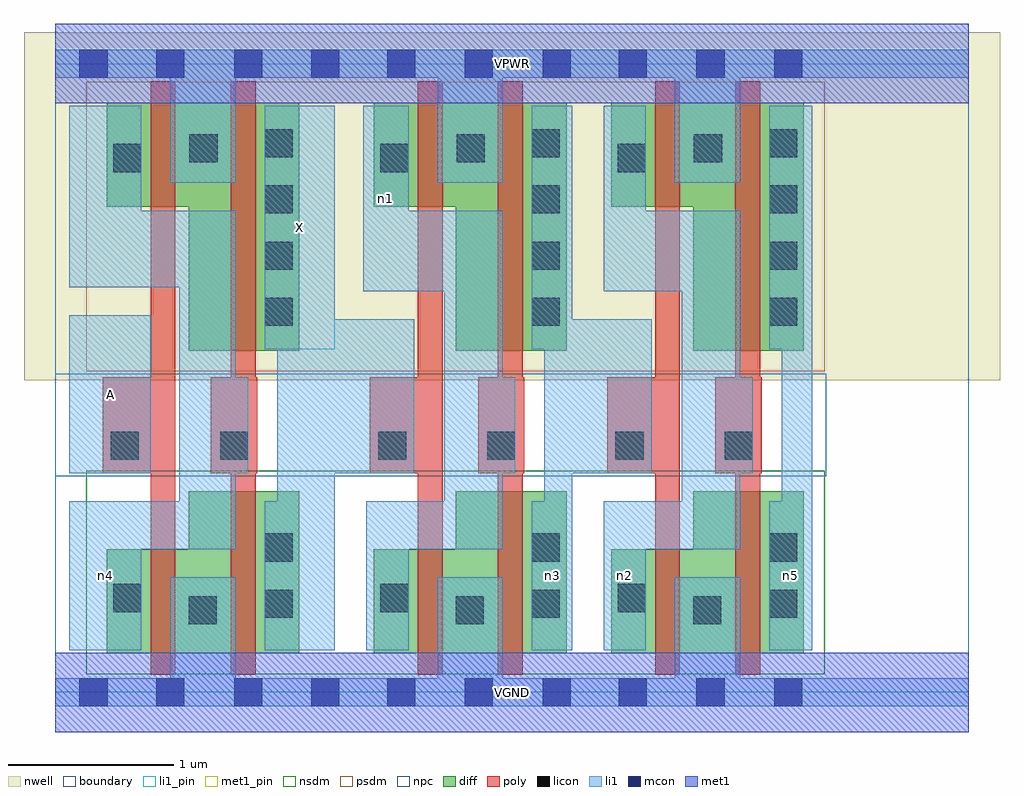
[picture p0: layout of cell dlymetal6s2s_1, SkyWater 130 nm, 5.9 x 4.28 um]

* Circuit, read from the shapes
.subckt dlymetal6s2s_1 A VGND VPWR X n1 n2 n3 n4 n5
XM1 VGND A n4 VSUBS sky130_fd_pr__nfet_01v8 w=0.63 l=0.15
XM2 X n4 VGND VSUBS sky130_fd_pr__nfet_01v8 w=0.98 l=0.15
XM3 VGND X n1 VSUBS sky130_fd_pr__nfet_01v8 w=0.63 l=0.15
XM4 n3 n1 VGND VSUBS sky130_fd_pr__nfet_01v8 w=0.98 l=0.15
XM5 VGND n3 n2 VSUBS sky130_fd_pr__nfet_01v8 w=0.63 l=0.15
XM6 n5 n2 VGND VSUBS sky130_fd_pr__nfet_01v8 w=0.98 l=0.15
XM7 VPWR A n4 n6 sky130_fd_pr__pfet_01v8 w=0.63 l=0.15
XM8 X n4 VPWR n6 sky130_fd_pr__pfet_01v8 w=1.5 l=0.15
XM9 VPWR X n1 n6 sky130_fd_pr__pfet_01v8 w=0.63 l=0.15
XM10 n3 n1 VPWR n6 sky130_fd_pr__pfet_01v8 w=1.5 l=0.15
XM11 VPWR n3 n2 n6 sky130_fd_pr__pfet_01v8 w=0.63 l=0.15
XM12 n5 n2 VPWR n6 sky130_fd_pr__pfet_01v8 w=1.5 l=0.15
.ends

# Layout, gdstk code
import gdstk
lib = gdstk.Library(unit=1e-6, precision=1e-09)
def R(c, l, rs):  # rectangles x0, y0, x1, y1
    for r in rs: c.add(gdstk.rectangle(r[:2], r[2:], *l))
def A(c, l, x, y, w, h, nx, ny, dx, dy):  # array of equal rectangles
    R(c, l, [(x+i*dx, y+j*dy, x+i*dx+w, y+j*dy+h) for i in range(nx) for j in range(ny)])
nwell = (64, 20)
diff = (65, 20)
poly = (66, 20)
licon = (66, 44)
li1_pin = (67, 16)
li1 = (67, 20)
mcon = (67, 44)
met1_pin = (68, 16)
met1 = (68, 20)
nsdm = (93, 44)
psdm = (94, 20)
npc = (95, 20)
boundary = (235, 4)

dlymetal6s2s_1 = lib.new_cell('dlymetal6s2s_1')
R(dlymetal6s2s_1, nwell, [(-0.19,1.885,5.71,3.99), (0,1.885,5.52,3.99)])
R(dlymetal6s2s_1, diff, [(0.31,0.235,1.475,0.865), (0.805,0.235,1.475,1.215), (1.925,0.235,3.09,0.865), (2.42,0.235,3.09,1.215), (3.36,0.235,4.525,0.865), (3.855,0.235,4.525,1.215), (0.805,2.065,1.475,3.565), (2.42,2.065,3.09,3.565), (3.855,2.065,4.525,3.565), (0.31,2.935,1.475,3.565), (1.925,2.935,3.09,3.565), (3.36,2.935,4.525,3.565)])
R(dlymetal6s2s_1, poly, [(0.575,0.105,0.725,3.695), (1.06,0.105,1.21,3.695), (2.19,0.105,2.34,3.695), (2.675,0.105,2.825,3.695), (3.625,0.105,3.775,3.695), (4.11,0.105,4.26,3.695), (0.285,1.325,0.725,1.905), (0.94,1.325,1.22,1.905), (1.9,1.325,2.34,1.905), (2.555,1.325,2.835,1.905), (3.335,1.325,3.775,1.905), (3.99,1.325,4.27,1.905)])
A(dlymetal6s2s_1, licon, 1.265, 2.215, 0.17, 0.17, 1, 4, 0, 0.34)
A(dlymetal6s2s_1, licon, 2.88, 2.215, 0.17, 0.17, 1, 4, 0, 0.34)
A(dlymetal6s2s_1, licon, 4.315, 2.215, 0.17, 0.17, 1, 4, 0, 0.34)
R(dlymetal6s2s_1, licon, [(0.805,0.41,0.975,0.58), (2.42,0.41,2.59,0.58), (3.855,0.41,4.025,0.58), (1.265,0.45,1.435,0.62), (2.88,0.45,3.05,0.62), (4.315,0.45,4.485,0.62), (0.35,0.485,0.52,0.655), (1.965,0.485,2.135,0.655), (3.4,0.485,3.57,0.655), (1.265,0.79,1.435,0.96), (2.88,0.79,3.05,0.96), (4.315,0.79,4.485,0.96), (0.335,1.405,0.505,1.575), (0.995,1.405,1.165,1.575), (1.95,1.405,2.12,1.575), (2.61,1.405,2.78,1.575), (3.385,1.405,3.555,1.575), (4.045,1.405,4.215,1.575), (0.35,3.145,0.52,3.315), (1.965,3.145,2.135,3.315), (3.4,3.145,3.57,3.315), (0.81,3.205,0.98,3.375), (2.425,3.205,2.595,3.375), (3.86,3.205,4.03,3.375)])
R(dlymetal6s2s_1, li1_pin, [(0.085,1.325,0.575,2.28), (1.265,2.075,1.69,3.545)])
R(dlymetal6s2s_1, li1, [(0,-0.085,5.52,0.085), (0.695,-0.085,1.09,0.695), (2.31,-0.085,2.705,0.695), (3.745,-0.085,4.14,0.695), (0.085,0.255,0.52,1.155), (1.265,0.255,1.69,1.155), (1.34,0.255,1.69,3.545), (1.88,0.255,2.135,1.155), (2.88,0.255,3.125,1.155), (2.955,0.255,3.125,3.545), (3.315,0.255,3.57,1.155), (4.315,0.255,4.575,1.155), (4.39,0.255,4.575,3.545), (0.085,0.865,1.09,1.155), (0.75,0.865,1.09,2.91), (1.88,0.865,2.705,1.155), (2.35,0.865,2.705,2.91), (3.315,0.865,4.14,1.155), (3.785,0.865,4.14,2.91), (0.085,1.325,0.575,2.28), (0.75,1.325,1.165,1.905), (1.34,1.325,2.17,2.255), (2.35,1.325,2.78,1.905), (2.955,1.325,3.605,2.255), (3.785,1.325,4.215,1.905), (1.265,2.075,1.69,3.545), (2.88,2.075,3.125,3.545), (4.315,2.075,4.575,3.545), (1.86,2.425,2.135,3.545), (1.86,2.425,2.705,2.91), (3.315,2.425,3.57,3.545), (3.315,2.425,4.14,2.91), (0.085,2.45,0.52,3.545), (0.085,2.45,1.09,2.91), (0.695,3.08,1.09,3.885), (2.31,3.08,2.705,3.885), (3.745,3.08,4.14,3.885), (0,3.715,5.52,3.885)])
A(dlymetal6s2s_1, mcon, 2.005, -0.085, 0.17, 0.17, 3, 2, 0.47, 3.8)
A(dlymetal6s2s_1, mcon, 3.405, -0.085, 0.17, 0.17, 3, 2, 0.47, 3.8)
R(dlymetal6s2s_1, mcon, [(0.145,-0.085,0.315,0.085), (0.61,-0.085,0.78,0.085), (1.08,-0.085,1.25,0.085), (1.545,-0.085,1.715,0.085), (0.145,3.715,0.315,3.885), (0.61,3.715,0.78,3.885), (1.08,3.715,1.25,3.885), (1.545,3.715,1.715,3.885)])
R(dlymetal6s2s_1, met1_pin, [(0,-0.24,5.52,0.24), (0,3.56,5.52,4.04)])
R(dlymetal6s2s_1, met1, [(0,-0.24,5.52,0.24), (0,3.56,5.52,4.04)])
R(dlymetal6s2s_1, nsdm, [(0.185,0.11,4.65,1.34)])
R(dlymetal6s2s_1, psdm, [(0.185,1.94,4.65,3.69)])
R(dlymetal6s2s_1, npc, [(0,1.305,4.66,1.925)])
R(dlymetal6s2s_1, boundary, [(0,0,5.52,3.8)])
dlymetal6s2s_1.add(gdstk.Label('A', (0.33,1.802), layer=67, texttype=5))
dlymetal6s2s_1.add(gdstk.Label('X', (1.477,2.81), layer=67, texttype=5))
dlymetal6s2s_1.add(gdstk.Label('n4', (0.302,0.705), layer=67, texttype=5))
dlymetal6s2s_1.add(gdstk.Label('n1', (1.997,2.985), layer=67, texttype=5))
dlymetal6s2s_1.add(gdstk.Label('n3', (3.002,0.705), layer=67, texttype=5))
dlymetal6s2s_1.add(gdstk.Label('n2', (3.442,0.705), layer=67, texttype=5))
dlymetal6s2s_1.add(gdstk.Label('n5', (4.445,0.705), layer=67, texttype=5))
dlymetal6s2s_1.add(gdstk.Label('VPWR', (2.76,3.8), layer=68, texttype=5))
dlymetal6s2s_1.add(gdstk.Label('VGND', (2.76,0), layer=68, texttype=5))
dlymetal6s2s_1.add(gdstk.Label('A', (0.33,1.802), layer=67, texttype=16))
dlymetal6s2s_1.add(gdstk.Label('X', (1.477,2.81), layer=67, texttype=16))
dlymetal6s2s_1.add(gdstk.Label('VPWR', (2.76,3.8), layer=68, texttype=16))
dlymetal6s2s_1.add(gdstk.Label('VGND', (2.76,0), layer=68, texttype=16))

lib.write_gds('dlymetal6s2s_1.gds')
